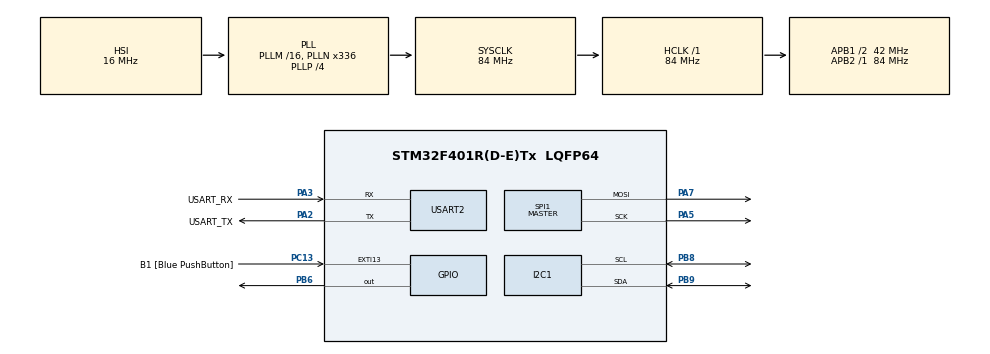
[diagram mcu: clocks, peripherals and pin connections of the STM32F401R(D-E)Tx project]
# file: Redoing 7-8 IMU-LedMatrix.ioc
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Dma.Request0=SPI1_TX
Dma.SPI1_TX.0.Direction=DMA_MEMORY_TO_PERIPH
Dma.SPI1_TX.0.FIFOMode=DMA_FIFOMODE_DISABLE
Dma.SPI1_TX.0.Instance=DMA2_Stream3
Dma.SPI1_TX.0.MemDataAlignment=DMA_MDATAALIGN_BYTE
Dma.SPI1_TX.0.MemInc=DMA_MINC_ENABLE
Dma.SPI1_TX.0.Mode=DMA_NORMAL
Dma.SPI1_TX.0.PeriphDataAlignment=DMA_PDATAALIGN_BYTE
Dma.SPI1_TX.0.PeriphInc=DMA_PINC_DISABLE
Dma.SPI1_TX.0.Priority=DMA_PRIORITY_LOW
Mcu.Family=STM32F4
Mcu.Name=STM32F401R(D-E)Tx
Mcu.Package=LQFP64
NVIC.DMA2_Stream3_IRQn=true\:0\:0\:false\:false\:true\:false\:true\:true
NVIC.I2C1_EV_IRQn=true\:0\:0\:false\:false\:true\:true\:true\:true
NVIC.PriorityGroup=NVIC_PRIORITYGROUP_0
NVIC.SPI1_IRQn=true\:0\:0\:false\:false\:true\:true\:true\:true
NVIC.TIM2_IRQn=true\:0\:0\:false\:false\:true\:true\:true\:true
NVIC.TIM3_IRQn=true\:0\:0\:false\:false\:true\:true\:true\:true
NVIC.USART2_IRQn=true\:0\:0\:false\:false\:true\:true\:true\:true
PA13.GPIO_Label=TMS
PA13.Mode=Serial_Wire
PA13.Signal=SYS_JTMS-SWDIO
PA14.GPIO_Label=TCK
PA14.Mode=Serial_Wire
PA14.Signal=SYS_JTCK-SWCLK
PA2.GPIO_Label=USART_TX
PA2.GPIO_Mode=GPIO_MODE_AF_PP
PA2.GPIO_PuPd=GPIO_NOPULL
PA2.GPIO_Speed=GPIO_SPEED_FREQ_LOW
PA2.Mode=Asynchronous
PA2.Signal=USART2_TX
PA3.GPIO_Label=USART_RX
PA3.GPIO_Mode=GPIO_MODE_AF_PP
PA3.GPIO_PuPd=GPIO_NOPULL
PA3.GPIO_Speed=GPIO_SPEED_FREQ_LOW
PA3.Mode=Asynchronous
PA3.Signal=USART2_RX
PA4.Signal=SPI1_NSS
PA5.Mode=TX_Only_Simplex_Unidirect_Master
PA5.Signal=SPI1_SCK
PA6.Signal=SPI1_MISO
PA7.Mode=TX_Only_Simplex_Unidirect_Master
PA7.Signal=SPI1_MOSI
PB3.GPIO_Label=SWO
PB3.Signal=SYS_JTDO-SWO
PB6.Signal=GPIO_Output
PB8.Mode=I2C
PB8.Signal=I2C1_SCL
PB9.Mode=I2C
PB9.Signal=I2C1_SDA
PC13-ANTI_TAMP.GPIO_Label=B1 [Blue PushButton]
PC13-ANTI_TAMP.GPIO_ModeDefaultEXTI=GPIO_MODE_IT_FALLING
PC13-ANTI_TAMP.GPIO_PuPd=GPIO_NOPULL
PC13-ANTI_TAMP.Signal=GPXTI13
PC14-OSC32_IN.Mode=LSE-External-Oscillator
PC14-OSC32_IN.Signal=RCC_OSC32_IN
PC15-OSC32_OUT.Mode=LSE-External-Oscillator
PC15-OSC32_OUT.Signal=RCC_OSC32_OUT
PH0\ -\ OSC_IN.Mode=HSE-External-Clock-Source
PH0\ -\ OSC_IN.Signal=RCC_OSC_IN
PH1\ -\ OSC_OUT.Mode=HSE-External-Clock-Source
PH1\ -\ OSC_OUT.Signal=RCC_OSC_OUT
ProjectManager.HeapSize=0x200
ProjectManager.StackSize=0x400
ProjectManager.TargetToolchain=STM32CubeIDE
RCC.48MHZClocksFreq_Value=48000000
RCC.AHBFreq_Value=84000000
RCC.APB1CLKDivider=RCC_HCLK_DIV2
RCC.APB1Freq_Value=42000000
RCC.APB1TimFreq_Value=84000000
RCC.APB2Freq_Value=84000000
RCC.APB2TimFreq_Value=84000000
RCC.CortexFreq_Value=84000000
RCC.HCLKFreq_Value=84000000
RCC.HSE_VALUE=8000000
RCC.HSI_VALUE=16000000
RCC.PLLN=336
RCC.PLLP=RCC_PLLP_DIV4
RCC.PLLQ=7
RCC.SYSCLKFreq_VALUE=84000000
RCC.SYSCLKSource=RCC_SYSCLKSOURCE_PLLCLK
RCC.VCOOutputFreq_Value=336000000
SPI1.BaudRatePrescaler=SPI_BAUDRATEPRESCALER_4
SPI1.Direction=SPI_DIRECTION_2LINES
SPI1.Mode=SPI_MODE_MASTER
SPI1.VirtualType=VM_MASTER
TIM2.Period=10-1
TIM2.Prescaler=8400-1
TIM3.Period=500-1
TIM3.Prescaler=8400-1
USART2.VirtualMode=VM_ASYNC
VP_TIM2_VS_ClockSourceINT.Mode=Internal
VP_TIM3_VS_ClockSourceINT.Mode=Internal
board=NUCLEO-F401RE

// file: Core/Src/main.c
/* USER CODE BEGIN Header */
/**
  ******************************************************************************
  * @file           : main.c
  * @brief          : Main program body
  ******************************************************************************
  * @attention
  *
  * Copyright (c) 2024 STMicroelectronics.
  * All rights reserved.
  *
  * This software is licensed under terms that can be found in the LICENSE file
  * in the root directory of this software component.
  * If no LICENSE file comes with this software, it is provided AS-IS.
  *
  ******************************************************************************
  */
/* USER CODE END Header */
#include "main.h"

/* USER CODE BEGIN Includes */
#include <stdio.h>
#include <string.h>
#include <math.h>
/* USER CODE END Includes */

/* USER CODE BEGIN PD */
char aux_str[1024];
#define MIN(X, Y) (((X) < (Y)) ? (X) : (Y))
#define MAX(X, Y) (((X) > (Y)) ? (X) : (Y))
#define CLAMP(X, V1, V2) (MAX(MIN(X,V2),V1))
#define PRINT(s,...) \
		snprintf(aux_str, 1020, s, ##__VA_ARGS__ ); \
		HAL_UART_Transmit(&huart2, (uint8_t*)aux_str, strlen(aux_str), 100);

#define LIS2DE 0b01010000 //first possible Accellerometer type
#define LIS2DE12 0b00110000 //second possible Accellerometer type
#define MAT_SWITCH GPIOB,GPIO_PIN_6
/* USER CODE END PD */

I2C_HandleTypeDef hi2c1;

SPI_HandleTypeDef hspi1;
DMA_HandleTypeDef hdma_spi1_tx;

TIM_HandleTypeDef htim2;
TIM_HandleTypeDef htim3;

UART_HandleTypeDef huart2;

void SystemClock_Config(void);
static void MX_GPIO_Init(void);
static void MX_DMA_Init(void);
static void MX_USART2_UART_Init(void);
static void MX_I2C1_Init(void);
static void MX_TIM3_Init(void);
static void MX_TIM2_Init(void);
static void MX_SPI1_Init(void);

/* USER CODE BEGIN 0 */

uint8_t device_addr = LIS2DE;
int8_t data[5];
uint8_t x = 0, y = 1; //variables assigned by the reception of IMU values with relative matrix col and row to lightup
void HAL_I2C_MasterRxCpltCallback(I2C_HandleTypeDef *hi2c){
	if(&hi2c1 == hi2c){
		PRINT("Received: %d, %d, %d\r\n",data[0], data[2], data[4]);
		x = round(-(float)data[2]/100.0f * 4.0f) + 2;
		y = round((float)data[0]/100.0f * 6.0f) + 3;
		x = CLAMP(x, 0, 4);
		y = CLAMP(y, 0, 6);

		PRINT("To mat %d:%d\r\n", x, y);
	}
}

void HAL_TIM_PeriodElapsedCallback(TIM_HandleTypeDef *htim){
	if(htim == &htim3){
		uint8_t X_pin = 0b10101001; //00101001 is the address of pin x, the msb = 1 means that we want auto increment made by the device

		HAL_I2C_Master_Transmit(&hi2c1, device_addr, &X_pin, 1, 50); //telling which variable i want to read
		HAL_I2C_Master_Receive_IT(&hi2c1, device_addr, (uint8_t*)data, 5);
	}else if(htim == &htim2){
		static int col = 0;
		uint8_t send[2] = {0,pow(2,4-col)};
		if(col == x){
			send[0] = pow(2,y);
		}
		HAL_SPI_Transmit_DMA(&hspi1, send, 2);
		col = (col+1) % 5;
	}
}

void HAL_SPI_TxCpltCallback (SPI_HandleTypeDef * hspi){
	HAL_GPIO_TogglePin(MAT_SWITCH);
	HAL_GPIO_TogglePin(MAT_SWITCH);
}

/* USER CODE END 0 */

int main(void)
{

  /* MCU Configuration--------------------------------------------------------*/

  /* Reset of all peripherals, Initializes the Flash interface and the Systick. */
  HAL_Init();

  /* Configure the system clock */
  SystemClock_Config();

  /* Initialize all configured peripherals */
  MX_GPIO_Init();
  MX_DMA_Init();
  MX_USART2_UART_Init();
  MX_I2C1_Init();
  MX_TIM3_Init();
  MX_TIM2_Init();
  MX_SPI1_Init();
  /* USER CODE BEGIN 2 */

  //uint8_t who_am_i_addr[2] = {0b00110011, 0b00000000};
  uint8_t CTRL_REG1[2] = {0x20, 0b01000111}; //set 50Hz on all directions

  if(HAL_I2C_Master_Transmit(&hi2c1, device_addr, CTRL_REG1, sizeof(CTRL_REG1), 100) != HAL_OK){
	  PRINT("Device LIS2DE not found\r\n");
	  device_addr = LIS2DE12;
	  if(HAL_I2C_Master_Transmit(&hi2c1, device_addr, CTRL_REG1, sizeof(CTRL_REG1), 100) != HAL_OK){
		  PRINT("DeviceLIS2DE12 not found.\r\nABORTING...\r\n");
		  Error_Handler();
	  }
  }

  PRINT("Transmitting to %#X\r\n", device_addr);

  HAL_TIM_Base_Start_IT(&htim3);
  HAL_TIM_Base_Start_IT(&htim2);

  /* USER CODE END 2 */

  /* Infinite loop */
  while (1)
  {

  }
}

void SystemClock_Config(void)
{
  RCC_OscInitTypeDef RCC_OscInitStruct = {0};
  RCC_ClkInitTypeDef RCC_ClkInitStruct = {0};

  /** Configure the main internal regulator output voltage
  */
  __HAL_RCC_PWR_CLK_ENABLE();
  __HAL_PWR_VOLTAGESCALING_CONFIG(PWR_REGULATOR_VOLTAGE_SCALE2);

  /** Initializes the RCC Oscillators according to the specified parameters
  * in the RCC_OscInitTypeDef structure.
  */
  RCC_OscInitStruct.OscillatorType = RCC_OSCILLATORTYPE_HSI;
  RCC_OscInitStruct.HSIState = RCC_HSI_ON;
  RCC_OscInitStruct.HSICalibrationValue = RCC_HSICALIBRATION_DEFAULT;
  RCC_OscInitStruct.PLL.PLLState = RCC_PLL_ON;
  RCC_OscInitStruct.PLL.PLLSource = RCC_PLLSOURCE_HSI;
  RCC_OscInitStruct.PLL.PLLM = 16;
  RCC_OscInitStruct.PLL.PLLN = 336;
  RCC_OscInitStruct.PLL.PLLP = RCC_PLLP_DIV4;
  RCC_OscInitStruct.PLL.PLLQ = 7;
  if (HAL_RCC_OscConfig(&RCC_OscInitStruct) != HAL_OK)
  {
    Error_Handler();
  }

  /** Initializes the CPU, AHB and APB buses clocks
  */
  RCC_ClkInitStruct.ClockType = RCC_CLOCKTYPE_HCLK|RCC_CLOCKTYPE_SYSCLK
                              |RCC_CLOCKTYPE_PCLK1|RCC_CLOCKTYPE_PCLK2;
  RCC_ClkInitStruct.SYSCLKSource = RCC_SYSCLKSOURCE_PLLCLK;
  RCC_ClkInitStruct.AHBCLKDivider = RCC_SYSCLK_DIV1;
  RCC_ClkInitStruct.APB1CLKDivider = RCC_HCLK_DIV2;
  RCC_ClkInitStruct.APB2CLKDivider = RCC_HCLK_DIV1;

  if (HAL_RCC_ClockConfig(&RCC_ClkInitStruct, FLASH_LATENCY_2) != HAL_OK)
  {
    Error_Handler();
  }
}

static void MX_I2C1_Init(void)
{

  hi2c1.Instance = I2C1;
  hi2c1.Init.ClockSpeed = 100000;
  hi2c1.Init.DutyCycle = I2C_DUTYCYCLE_2;
  hi2c1.Init.OwnAddress1 = 0;
  hi2c1.Init.AddressingMode = I2C_ADDRESSINGMODE_7BIT;
  hi2c1.Init.DualAddressMode = I2C_DUALADDRESS_DISABLE;
  hi2c1.Init.OwnAddress2 = 0;
  hi2c1.Init.GeneralCallMode = I2C_GENERALCALL_DISABLE;
  hi2c1.Init.NoStretchMode = I2C_NOSTRETCH_DISABLE;
  if (HAL_I2C_Init(&hi2c1) != HAL_OK)
  {
    Error_Handler();
  }

}

static void MX_SPI1_Init(void)
{

  /* SPI1 parameter configuration*/
  hspi1.Instance = SPI1;
  hspi1.Init.Mode = SPI_MODE_MASTER;
  hspi1.Init.Direction = SPI_DIRECTION_2LINES;
  hspi1.Init.DataSize = SPI_DATASIZE_8BIT;
  hspi1.Init.CLKPolarity = SPI_POLARITY_LOW;
  hspi1.Init.CLKPhase = SPI_PHASE_1EDGE;
  hspi1.Init.NSS = SPI_NSS_SOFT;
  hspi1.Init.BaudRatePrescaler = SPI_BAUDRATEPRESCALER_4;
  hspi1.Init.FirstBit = SPI_FIRSTBIT_MSB;
  hspi1.Init.TIMode = SPI_TIMODE_DISABLE;
  hspi1.Init.CRCCalculation = SPI_CRCCALCULATION_DISABLE;
  hspi1.Init.CRCPolynomial = 10;
  if (HAL_SPI_Init(&hspi1) != HAL_OK)
  {
    Error_Handler();
  }

}

static void MX_TIM2_Init(void)
{

  TIM_ClockConfigTypeDef sClockSourceConfig = {0};
  TIM_MasterConfigTypeDef sMasterConfig = {0};

  htim2.Instance = TIM2;
  htim2.Init.Prescaler = 8400-1;
  htim2.Init.CounterMode = TIM_COUNTERMODE_UP;
  htim2.Init.Period = 10-1;
  htim2.Init.ClockDivision = TIM_CLOCKDIVISION_DIV1;
  htim2.Init.AutoReloadPreload = TIM_AUTORELOAD_PRELOAD_DISABLE;
  if (HAL_TIM_Base_Init(&htim2) != HAL_OK)
  {
    Error_Handler();
  }
  sClockSourceConfig.ClockSource = TIM_CLOCKSOURCE_INTERNAL;
  if (HAL_TIM_ConfigClockSource(&htim2, &sClockSourceConfig) != HAL_OK)
  {
    Error_Handler();
  }
  sMasterConfig.MasterOutputTrigger = TIM_TRGO_RESET;
  sMasterConfig.MasterSlaveMode = TIM_MASTERSLAVEMODE_DISABLE;
  if (HAL_TIMEx_MasterConfigSynchronization(&htim2, &sMasterConfig) != HAL_OK)
  {
    Error_Handler();
  }

}

static void MX_TIM3_Init(void)
{

  TIM_ClockConfigTypeDef sClockSourceConfig = {0};
  TIM_MasterConfigTypeDef sMasterConfig = {0};

  htim3.Instance = TIM3;
  htim3.Init.Prescaler = 8400-1;
  htim3.Init.CounterMode = TIM_COUNTERMODE_UP;
  htim3.Init.Period = 500-1;
  htim3.Init.ClockDivision = TIM_CLOCKDIVISION_DIV1;
  htim3.Init.AutoReloadPreload = TIM_AUTORELOAD_PRELOAD_DISABLE;
  if (HAL_TIM_Base_Init(&htim3) != HAL_OK)
  {
    Error_Handler();
  }
  sClockSourceConfig.ClockSource = TIM_CLOCKSOURCE_INTERNAL;
  if (HAL_TIM_ConfigClockSource(&htim3, &sClockSourceConfig) != HAL_OK)
  {
    Error_Handler();
  }
  sMasterConfig.MasterOutputTrigger = TIM_TRGO_RESET;
  sMasterConfig.MasterSlaveMode = TIM_MASTERSLAVEMODE_DISABLE;
  if (HAL_TIMEx_MasterConfigSynchronization(&htim3, &sMasterConfig) != HAL_OK)
  {
    Error_Handler();
  }

}

static void MX_USART2_UART_Init(void)
{

  huart2.Instance = USART2;
  huart2.Init.BaudRate = 115200;
  huart2.Init.WordLength = UART_WORDLENGTH_8B;
  huart2.Init.StopBits = UART_STOPBITS_1;
  huart2.Init.Parity = UART_PARITY_NONE;
  huart2.Init.Mode = UART_MODE_TX_RX;
  huart2.Init.HwFlowCtl = UART_HWCONTROL_NONE;
  huart2.Init.OverSampling = UART_OVERSAMPLING_16;
  if (HAL_UART_Init(&huart2) != HAL_OK)
  {
    Error_Handler();
  }

}

static void MX_DMA_Init(void)
{

  /* DMA controller clock enable */
  __HAL_RCC_DMA2_CLK_ENABLE();

  /* DMA interrupt init */
  /* DMA2_Stream3_IRQn interrupt configuration */
  HAL_NVIC_SetPriority(DMA2_Stream3_IRQn, 0, 0);
  HAL_NVIC_EnableIRQ(DMA2_Stream3_IRQn);

}

static void MX_GPIO_Init(void)
{
  GPIO_InitTypeDef GPIO_InitStruct = {0};

  /* GPIO Ports Clock Enable */
  __HAL_RCC_GPIOC_CLK_ENABLE();
  __HAL_RCC_GPIOH_CLK_ENABLE();
  __HAL_RCC_GPIOA_CLK_ENABLE();
  __HAL_RCC_GPIOB_CLK_ENABLE();

  /*Configure GPIO pin Output Level */
  HAL_GPIO_WritePin(GPIOB, GPIO_PIN_6, GPIO_PIN_RESET);

  /*Configure GPIO pin : B1_Pin */
  GPIO_InitStruct.Pin = B1_Pin;
  GPIO_InitStruct.Mode = GPIO_MODE_IT_FALLING;
  GPIO_InitStruct.Pull = GPIO_NOPULL;
  HAL_GPIO_Init(B1_GPIO_Port, &GPIO_InitStruct);

  /*Configure GPIO pin : PB6 */
  GPIO_InitStruct.Pin = GPIO_PIN_6;
  GPIO_InitStruct.Mode = GPIO_MODE_OUTPUT_PP;
  GPIO_InitStruct.Pull = GPIO_NOPULL;
  GPIO_InitStruct.Speed = GPIO_SPEED_FREQ_LOW;
  HAL_GPIO_Init(GPIOB, &GPIO_InitStruct);

}

void Error_Handler(void)
{
  __disable_irq();
  while (1)
  {
  }
}
